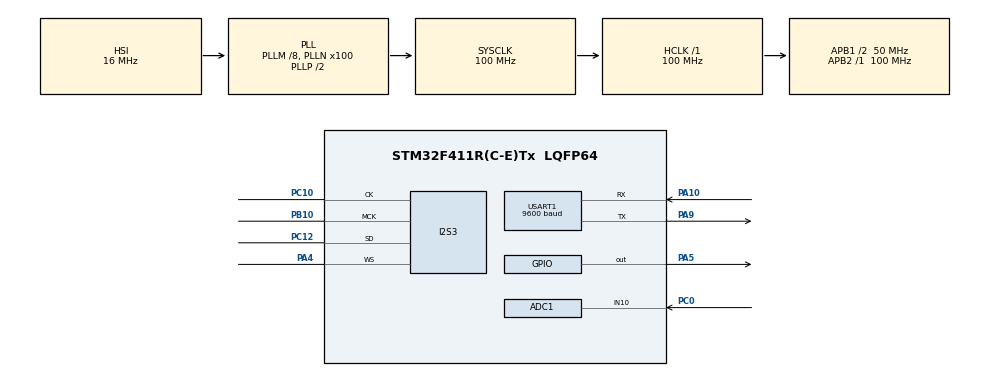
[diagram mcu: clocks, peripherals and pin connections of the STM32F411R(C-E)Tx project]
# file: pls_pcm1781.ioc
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ADC1.Channel-0\#ChannelRegularConversion=ADC_CHANNEL_10
ADC1.ClockPrescaler=ADC_CLOCK_SYNC_PCLK_DIV4
ADC1.ContinuousConvMode=DISABLE
ADC1.DMAContinuousRequests=DISABLE
ADC1.DataAlign=ADC_DATAALIGN_RIGHT
ADC1.ExternalTrigConv=ADC_EXTERNALTRIGCONV_T2_TRGO
ADC1.ExternalTrigConvEdge=ADC_EXTERNALTRIGCONVEDGE_RISING
ADC1.InjNumberOfConversion=0
ADC1.NbrOfConversion=1
ADC1.NbrOfConversionFlag=1
ADC1.Rank-0\#ChannelRegularConversion=1
ADC1.SamplingTime-0\#ChannelRegularConversion=ADC_SAMPLETIME_84CYCLES
ADC1.master=1
Dma.ADC1.1.Direction=DMA_PERIPH_TO_MEMORY
Dma.ADC1.1.FIFOMode=DMA_FIFOMODE_ENABLE
Dma.ADC1.1.FIFOThreshold=DMA_FIFO_THRESHOLD_HALFFULL
Dma.ADC1.1.Instance=DMA2_Stream0
Dma.ADC1.1.MemBurst=DMA_MBURST_INC4
Dma.ADC1.1.MemDataAlignment=DMA_MDATAALIGN_HALFWORD
Dma.ADC1.1.MemInc=DMA_MINC_ENABLE
Dma.ADC1.1.Mode=DMA_NORMAL
Dma.ADC1.1.PeriphBurst=DMA_PBURST_INC4
Dma.ADC1.1.PeriphDataAlignment=DMA_PDATAALIGN_HALFWORD
Dma.ADC1.1.PeriphInc=DMA_PINC_DISABLE
Dma.ADC1.1.Priority=DMA_PRIORITY_VERY_HIGH
Dma.Request0=SPI3_TX
Dma.Request1=ADC1
Dma.SPI3_TX.0.Direction=DMA_MEMORY_TO_PERIPH
Dma.SPI3_TX.0.FIFOMode=DMA_FIFOMODE_ENABLE
Dma.SPI3_TX.0.FIFOThreshold=DMA_FIFO_THRESHOLD_HALFFULL
Dma.SPI3_TX.0.Instance=DMA1_Stream5
Dma.SPI3_TX.0.MemBurst=DMA_MBURST_INC4
Dma.SPI3_TX.0.MemDataAlignment=DMA_MDATAALIGN_HALFWORD
Dma.SPI3_TX.0.MemInc=DMA_MINC_ENABLE
Dma.SPI3_TX.0.Mode=DMA_CIRCULAR
Dma.SPI3_TX.0.PeriphBurst=DMA_PBURST_INC4
Dma.SPI3_TX.0.PeriphDataAlignment=DMA_PDATAALIGN_HALFWORD
Dma.SPI3_TX.0.PeriphInc=DMA_PINC_DISABLE
Dma.SPI3_TX.0.Priority=DMA_PRIORITY_VERY_HIGH
I2S3.AudioFreq=I2S_AUDIOFREQ_44K
I2S3.ErrorAudioFreq=0.24 %
I2S3.FullDuplexMode=I2S_FULLDUPLEXMODE_DISABLE
I2S3.Instance=SPI$Index
I2S3.RealAudioFreq=44.108 KHz
I2S3.VirtualMode=I2S_MODE_MASTER
Mcu.Family=STM32F4
Mcu.Name=STM32F411R(C-E)Tx
Mcu.Package=LQFP64
NVIC.DMA1_Stream5_IRQn=true\:0\:0\:false\:false\:true\:false\:true\:true
NVIC.DMA2_Stream0_IRQn=true\:0\:0\:false\:false\:true\:false\:true\:true
NVIC.PriorityGroup=NVIC_PRIORITYGROUP_4
NVIC.USART1_IRQn=true\:0\:0\:false\:false\:true\:true\:true\:true
PA10.Mode=Asynchronous
PA10.Signal=USART1_RX
PA4.Mode=Half_Duplex_Master
PA4.Signal=I2S3_WS
PA5.Signal=GPIO_Output
PA9.Mode=Asynchronous
PA9.Signal=USART1_TX
PB10.Mode=Master_Clock_Activated
PB10.Signal=I2S3_MCK
PC0.Signal=ADCx_IN10
PC10.Mode=Half_Duplex_Master
PC10.Signal=I2S3_CK
PC12.Mode=Half_Duplex_Master
PC12.Signal=I2S3_SD
PH0\ -\ OSC_IN.Mode=HSE-External-Oscillator
PH0\ -\ OSC_IN.Signal=RCC_OSC_IN
PH1\ -\ OSC_OUT.Mode=HSE-External-Oscillator
PH1\ -\ OSC_OUT.Signal=RCC_OSC_OUT
ProjectManager.HeapSize=0x200
ProjectManager.StackSize=0x400
ProjectManager.TargetToolchain=STM32CubeIDE
RCC.48MHZClocksFreq_Value=50000000
RCC.AHBFreq_Value=100000000
RCC.APB1CLKDivider=RCC_HCLK_DIV2
RCC.APB1Freq_Value=50000000
RCC.APB1TimFreq_Value=100000000
RCC.APB2Freq_Value=100000000
RCC.APB2TimFreq_Value=100000000
RCC.CortexFreq_Value=100000000
RCC.HCLKFreq_Value=100000000
RCC.HSE_VALUE=25000000
RCC.HSI_VALUE=16000000
RCC.LSE_VALUE=32768
RCC.PLLI2SN=271
RCC.PLLM=8
RCC.PLLN=100
RCC.SYSCLKFreq_VALUE=100000000
RCC.SYSCLKSource=RCC_SYSCLKSOURCE_PLLCLK
RCC.VCOOutputFreq_Value=200000000
SH.ADCx_IN10.0=ADC1_IN10,IN10
TIM2.Period=1132
TIM2.Prescaler=1
TIM2.TIM_MasterOutputTrigger=TIM_TRGO_UPDATE
USART1.BaudRate=9600
USART1.VirtualMode=VM_ASYNC
VP_TIM2_VS_ClockSourceINT.Mode=Internal
board=custom

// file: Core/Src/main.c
/* USER CODE BEGIN Header */
/**
 ******************************************************************************
 * @file           : main.c
 * @brief          : Main program body
 ******************************************************************************
 * @attention
 *
 * Copyright (c) 2022 STMicroelectronics.
 * All rights reserved.
 *
 * This software is licensed under terms that can be found in the LICENSE file
 * in the root directory of this software component.
 * If no LICENSE file comes with this software, it is provided AS-IS.
 *
 ******************************************************************************
 */
/* USER CODE END Header */
#include "main.h"
#include "adc.h"
#include "dma.h"
#include "i2s.h"
#include "tim.h"
#include "usart.h"
#include "gpio.h"
#include "delay.h"
#include "tremolo.h"

/* USER CODE BEGIN Includes */
#include "stdio.h"
#include "audio.h"
#include <string.h>
#include <stdlib.h>
/* USER CODE END Includes */

/* USER CODE BEGIN PD */
// #define BUFFER_SIZE 128
/* USER CODE END PD */

/* USER CODE BEGIN PV */

uint8_t dataReadyFlag;
// uint8_t count = 0;
uint16_t sinn_val = 0;
int Pot_Val = 13;
int x = 1;
// UART_HandleTypeDef huart1;
// DMA_HandleTypeDef hdma_usart2_rx;
char bluetoothRxBuf[6];
uint8_t rxCharCount = 0;
// uint8_t rxData;

struct Effect effects;

/* USER CODE END PV */

void SystemClock_Config(void);

/* USER CODE BEGIN 0 */

int _write(int file, char *ptr, int len) {
	int i = 0;
	for (i = 0; i < len; i++)
		ITM_SendChar((*ptr++));
	return len;
}

void HAL_UART_RxCpltCallback(UART_HandleTypeDef *huart) {

	HAL_GPIO_WritePin(GPIOA, GPIO_PIN_5, GPIO_PIN_SET);
	if (huart->Instance == huart1.Instance) {
		rxCharCount++;
		if (rxCharCount >= 5)
			rxCharCount = 0;
		HAL_UART_Receive_IT(&huart1, (uint8_t*) &bluetoothRxBuf[rxCharCount],
				1);

		if (rxCharCount == 0) {
			if (strcmp(bluetoothRxBuf, "delay") == 0) {
				HAL_GPIO_WritePin(GPIOA, GPIO_PIN_5, GPIO_PIN_RESET);
				effects.delay_on = !effects.delay_on;
			} else if (strcmp(bluetoothRxBuf, "tremo") == 0) {
				effects.trem_on = !effects.trem_on;
				HAL_GPIO_WritePin(GPIOA, GPIO_PIN_5, GPIO_PIN_RESET);
			} else if (strcmp(bluetoothRxBuf, "dstrt") == 0) {
				effects.od_on = !effects.od_on;
				HAL_GPIO_WritePin(GPIOA, GPIO_PIN_5, GPIO_PIN_RESET);
			}

			char* msgtok = strtok(bluetoothRxBuf, "=");
			char* msgval = bluetoothRxBuf + 3;
			int efval = atoi(msgval) + 1; // shifts range from 0-99 to 1-100
			if (strcmp(msgtok, "dt") == 0) {
				HAL_GPIO_WritePin(GPIOA, GPIO_PIN_5, GPIO_PIN_RESET);
				effects.dt = efval;
				delay_update_time(effects.dt);
			} else if (strcmp(msgtok, "df") == 0) {
				HAL_GPIO_WritePin(GPIOA, GPIO_PIN_5, GPIO_PIN_RESET);
				effects.df = efval;
				delay_update_fb_gain(effects.df);
			} else if (strcmp(msgtok, "tr") == 0) {
				HAL_GPIO_WritePin(GPIOA, GPIO_PIN_5, GPIO_PIN_RESET);
				effects.tr = efval;
				tremolo_set_rate(effects.tr);
			} else if (strcmp(msgtok, "td") == 0) {
				HAL_GPIO_WritePin(GPIOA, GPIO_PIN_5, GPIO_PIN_RESET);
				effects.td = efval;
				tremolo_set_depth(effects.td);
			}
		}

	}
}
/* USER CODE END 0 */

int main(void) {

	/* MCU Configuration--------------------------------------------------------*/

	/* Reset of all peripherals, Initializes the Flash interface and the Systick. */
	HAL_Init();

	/* Configure the system clock */
	SystemClock_Config();

	/* Initialize all configured peripherals */
	MX_GPIO_Init();
	MX_DMA_Init();
	MX_I2S3_Init();
	MX_ADC1_Init();
	MX_TIM2_Init();
	MX_USART1_UART_Init();
	/* USER CODE BEGIN 2 */

	// BT init
	HAL_UART_Receive_IT(&huart1, (uint8_t*) bluetoothRxBuf, 1);
	// HAL_UART_Receive_IT(&huart1,&rxData,1);
	Audio_Init();
	//HAL_Delay(50);

	/* USER CODE END 2 */

	/* Infinite loop */
	while (1) {

		/* USER CODE BEGIN 3 */

		Audio_Step();
	}
	/* USER CODE END 3 */
}

void SystemClock_Config(void) {
	RCC_OscInitTypeDef RCC_OscInitStruct = { 0 };
	RCC_ClkInitTypeDef RCC_ClkInitStruct = { 0 };

	/** Configure the main internal regulator output voltage
	 */
	__HAL_RCC_PWR_CLK_ENABLE();
	__HAL_PWR_VOLTAGESCALING_CONFIG(PWR_REGULATOR_VOLTAGE_SCALE1);

	/** Initializes the RCC Oscillators according to the specified parameters
	 * in the RCC_OscInitTypeDef structure.
	 */
	RCC_OscInitStruct.OscillatorType = RCC_OSCILLATORTYPE_HSI;
	RCC_OscInitStruct.HSIState = RCC_HSI_ON;
	RCC_OscInitStruct.HSICalibrationValue = RCC_HSICALIBRATION_DEFAULT;
	RCC_OscInitStruct.PLL.PLLState = RCC_PLL_ON;
	RCC_OscInitStruct.PLL.PLLSource = RCC_PLLSOURCE_HSI;
	RCC_OscInitStruct.PLL.PLLM = 8;
	RCC_OscInitStruct.PLL.PLLN = 100;
	RCC_OscInitStruct.PLL.PLLP = RCC_PLLP_DIV2;
	RCC_OscInitStruct.PLL.PLLQ = 4;
	if (HAL_RCC_OscConfig(&RCC_OscInitStruct) != HAL_OK) {
		Error_Handler();
	}

	/** Initializes the CPU, AHB and APB buses clocks
	 */
	RCC_ClkInitStruct.ClockType = RCC_CLOCKTYPE_HCLK | RCC_CLOCKTYPE_SYSCLK
			| RCC_CLOCKTYPE_PCLK1 | RCC_CLOCKTYPE_PCLK2;
	RCC_ClkInitStruct.SYSCLKSource = RCC_SYSCLKSOURCE_PLLCLK;
	RCC_ClkInitStruct.AHBCLKDivider = RCC_SYSCLK_DIV1;
	RCC_ClkInitStruct.APB1CLKDivider = RCC_HCLK_DIV2;
	RCC_ClkInitStruct.APB2CLKDivider = RCC_HCLK_DIV1;

	if (HAL_RCC_ClockConfig(&RCC_ClkInitStruct, FLASH_LATENCY_3) != HAL_OK) {
		Error_Handler();
	}
}

void Error_Handler(void) {
	__disable_irq();
	while (1) {
	}
}
